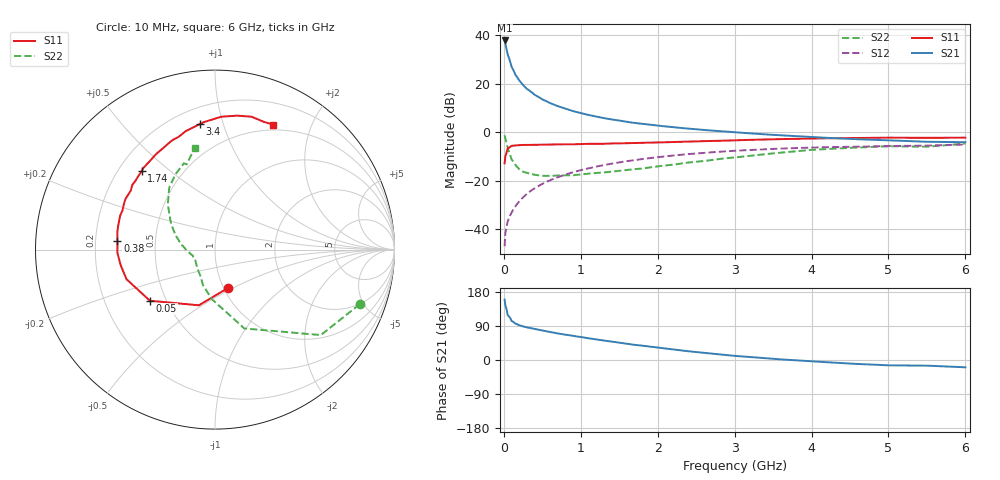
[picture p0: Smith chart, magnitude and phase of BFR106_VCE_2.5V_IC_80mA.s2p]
! Infineon Technologies  Discrete & RF Semiconductors
! BFR106
! VCE =  2.5 V,  IC =  80 mA
! Common Emitter S-Parameters:  Nov 2015
# GHz  S  MA  R  50
!  f  S11  S21  S12  S22
! GHz  MAG  ANG  MAG  ANG  MAG  ANG  MAG  ANG
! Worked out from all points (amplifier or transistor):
!   210 points, 10 MHz to 6 GHz, reference 50 ohm
!   highest |S21| = 37.9 dB at 10 MHz (marker M1)
!   |S21| within 3 dB of that: start of sweep to 31.84 MHz
!   unconditionally stable (mu >= 1): 184.6 MHz to 2.812 GHz; 5.185 GHz to end of sweep
!   at 185 MHz: K = 1.00, MAG = 25.6 dB, |S12| = -29.2 dB
!   at 1.52 GHz: K = 1.06, MAG = 7.1 dB, |S12| = -12.4 dB
!   at 6 GHz: K = 1.01, MAG = 0.0 dB, |S12| = -5.1 dB
!   S11 on the Smith chart (normalised r, x): 10 MHz: 1.04, -0.47; 50 MHz: 0.41, -0.29; 380 MHz: 0.29, +0.04; 1.74 GHz: 0.29, +0.40; 3.4 GHz: 0.30, +0.84; 6 GHz: 0.44, +1.48
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0.01  0.2263 -72.0  78.4 159.4  0.0044 78.1  0.8617 -20.7
0.02  0.3229 -106.1  67.21 143.7  0.0081 64.2  0.7581 -38.9
0.05  0.4611 -141.8  40.43 118.3  0.0142 60.8  0.469 -69.6
0.1  0.5199 -161.5  22.58 103.2  0.0217 65.4  0.2763 -93.7
0.15  0.5323 -170.5  15.38 96.0  0.0292 68.4  0.2089 -108.7
0.2  0.5381 -174.6  11.7 91.8  0.037 70.9  0.1718 -117.5
0.24  0.5434 -177.8  9.827 89.3  0.0434 71.6  0.1556 -125.0
0.3  0.5434 178.9  7.836 86.0  0.053 72.6  0.144 -132.9
0.38  0.5462 174.8  6.307 82.8  0.0658 73.1  0.1337 -140.8
0.4  0.5473 173.8  5.929 81.8  0.069 73.2  0.1315 -142.9
0.5  0.5524 170.6  4.764 77.7  0.085 72.8  0.1252 -149.8
0.6  0.5554 166.5  3.991 73.8  0.1012 71.8  0.1246 -154.2
0.8  0.5613 160.3  3.035 66.8  0.1326 69.3  0.1286 -162.4
1.02  0.5685 153.0  2.428 60.0  0.1668 66.2  0.1342 -167.8
1.3  0.5734 144.8  1.949 51.3  0.2086 61.5  0.1468 -174.9
1.74  0.5993 132.9  1.523 39.1  0.2697 54.3  0.1739 175.0
2.02  0.6128 126.1  1.353 32.2  0.3062 49.5  0.1983 168.9
3.1  0.6848 102.1  0.967 9.5  0.4194 31.6  0.3114 143.9
3.4  0.7049 96.7  0.899 4.7  0.4438 27.0  0.3504 137.9
4.1  0.7437 85.9  0.777 -4.8  0.4847 16.7  0.4376 124.5
5.1  0.7661 73.5  0.668 -14.3  0.5178 4.7  0.509 109.6
6  0.7681 64.9  0.62 -19.3  0.5557 -4.4  0.5783 101.3
